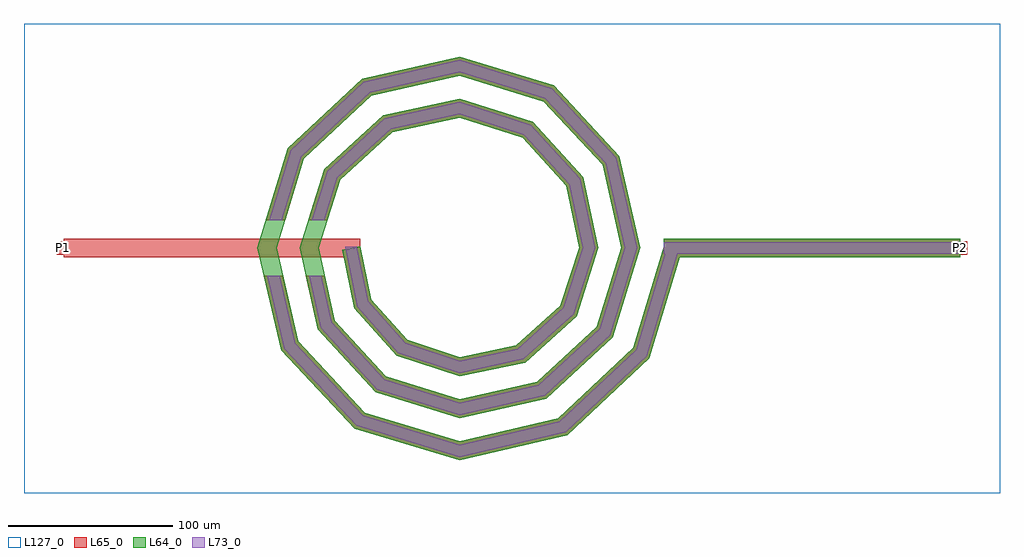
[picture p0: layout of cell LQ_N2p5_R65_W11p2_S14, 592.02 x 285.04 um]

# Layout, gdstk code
import gdstk
lib = gdstk.Library(unit=1e-6, precision=1e-09)
def R(c, l, rs):  # rectangles x0, y0, x1, y1
    for r in rs: c.add(gdstk.rectangle(r[:2], r[2:], *l))
def P(c, l, *ps):  # polygons
    for p in ps: c.add(gdstk.Polygon(p, *l))
L64_0 = (64, 0)
L65_0 = (65, 0)
L73_0 = (73, 0)
L127_0 = (127, 0)

lq_n2p5_r65_w11p2_s14 = lib.new_cell('LQ_N2p5_R65_W11p2_S14')
R(lq_n2p5_r65_w11p2_s14, L64_0, [(123.871,-5.6,303.871,5.6)])
P(lq_n2p5_r65_w11p2_s14, L64_0, [(-53.595,-31.334),(-31.819,-55.768),(0.318,-66.329),(34.494,-59.127),(61.271,-35.028),(72.7,0.292),(64.657,37.659),(38.234,66.778),(0.271,79.072),(-40.827,70.186),(-72.286,41.437),(-85.444,0.252),(-75.713,-43.997),(-44.637,-77.795),(0.235,-91.815),(47.169,-81.239),(83.306,-47.836),(98.187,0.221),(86.764,50.343),(51.034,88.818),(0.208,104.559),(-53.519,92.288),(-94.33,54.23),(-110.931,0.197),(-97.812,-56.695),(-57.425,-99.843),(0.187,-117.303),(59.873,-103.336),(105.357,-60.62),(124.109,1.616),(134.833,-1.616),(115.214,-66.727),(65.35,-113.556),(0.187,-128.893),(-63.549,-109.69),(-108.042,-62.155),(-122.521,0.197),(-104.166,60.372),(-58.959,102.529),(0.208,116.148),(57.196,98.641),(97.016,55.762),(109.775,0.221),(93.116,-54.021),(52.564,-91.504),(0.235,-103.402),(-50.847,-87.589),(-85.993,-49.364),(-97.029,0.252),(-82.061,47.676),(-46.162,80.482),(0.271,90.656),(44.506,76.532),(74.973,42.957),(84.283,0.292),(71.001,-41.34),(39.749,-69.466),(0.318,-77.909),(-38.176,-65.468),(-63.961,-36.537),(-71.232,-1.126),(-60.261,1.126)])
R(lq_n2p5_r65_w11p2_s14, L65_0, [(-240.147,-5.6,-60.147,5.6), (123.871,-5.6,303.871,5.6), (-244.147,-4,-236.147,4), (299.871,-4,307.871,4)])
P(lq_n2p5_r65_w11p2_s14, L65_0, [(-97.812,-56.695),(-57.425,-99.843),(0.187,-117.303),(59.873,-103.336),(105.357,-60.62),(124.109,1.616),(134.833,-1.616),(115.214,-66.727),(65.35,-113.556),(0.187,-128.893),(-63.549,-109.69),(-108.042,-62.155),(-118.574,-16.8),(-107.076,-16.8)],
  [(-75.713,-43.997),(-44.637,-77.795),(0.235,-91.815),(47.169,-81.239),(83.306,-47.836),(98.187,0.221),(86.764,50.343),(51.034,88.818),(0.208,104.559),(-53.519,92.288),(-94.33,54.23),(-105.747,16.8),(-117.456,16.8),(-104.166,60.372),(-58.959,102.529),(0.208,116.148),(57.196,98.641),(97.016,55.762),(109.775,0.221),(93.116,-54.021),(52.564,-91.504),(0.235,-103.402),(-50.847,-87.589),(-85.993,-49.364),(-93.236,-16.8),(-81.763,-16.8)],
  [(-31.819,-55.768),(0.318,-66.329),(34.494,-59.127),(61.272,-35.028),(72.701,0.293),(64.657,37.659),(38.234,66.778),(0.271,79.072),(-40.827,70.186),(-72.286,41.437),(-80.062,16.8),(-91.806,16.8),(-82.061,47.676),(-46.162,80.482),(0.271,90.656),(44.506,76.532),(74.973,42.957),(84.283,0.293),(71.001,-41.34),(39.749,-69.466),(0.318,-77.909),(-38.176,-65.468),(-63.961,-36.537),(-71.232,-1.127),(-60.261,1.127),(-53.595,-31.334)])
R(lq_n2p5_r65_w11p2_s14, L73_0, [(123.871,-3.6,303.871,3.6)])
P(lq_n2p5_r65_w11p2_s14, L73_0, [(-99.639,-57.67),(-58.519,-101.602),(0.12,-119.373),(60.851,-105.161),(107.117,-61.71),(126.024,1.039),(132.918,-1.039),(113.454,-65.637),(64.372,-111.731),(0.12,-126.824),(-62.456,-107.932),(-106.216,-61.18),(-116.521,-16.8),(-109.129,-16.8)],
  [(-77.548,-44.955),(-45.746,-79.544),(0.151,-93.885),(48.133,-83.072),(85.058,-48.941),(100.257,0.142),(88.595,51.311),(52.134,90.572),(0.134,106.629),(-54.49,94.117),(-96.087,55.327),(-107.838,16.8),(-115.366,16.8),(-102.41,59.275),(-57.988,100.7),(0.134,114.079),(56.095,96.887),(95.185,54.795),(107.706,0.142),(91.364,-52.916),(51.601,-89.671),(0.151,-101.333),(-49.738,-85.84),(-84.157,-48.405),(-91.187,-16.8),(-83.811,-16.8)],
  [(-32.954,-57.5),(0.205,-68.397),(35.433,-60.974),(63.009,-36.155),(74.769,0.188),(66.5,38.605),(39.354,68.52),(0.174,81.141),(-41.779,72.024),(-74.031,42.551),(-82.159,16.8),(-89.709,16.8),(-80.316,46.562),(-45.209,78.644),(0.174,88.588),(43.386,74.79),(73.131,42.011),(82.215,0.188),(69.264,-40.213),(38.811,-67.62),(0.205,-75.842),(-37.041,-63.735),(-62.11,-35.608),(-69.273,0.724),(-62.221,0.724),(-55.446,-32.263)])
R(lq_n2p5_r65_w11p2_s14, L127_0, [(-264.147,-148.893,327.871,136.148)])
lq_n2p5_r65_w11p2_s14.add(gdstk.Label('P2', (303.871,0), layer=65, texttype=0))
lq_n2p5_r65_w11p2_s14.add(gdstk.Label('P1', (-240.147,0), layer=65, texttype=0))
lq_n2p5_r65_w11p2_s14.add(gdstk.Label('P2', (307.871,0), layer=145, texttype=0))
lq_n2p5_r65_w11p2_s14.add(gdstk.Label('P1', (-244.147,0), layer=145, texttype=0))

lib.write_gds('LQ_N2p5_R65_W11p2_S14.gds')
